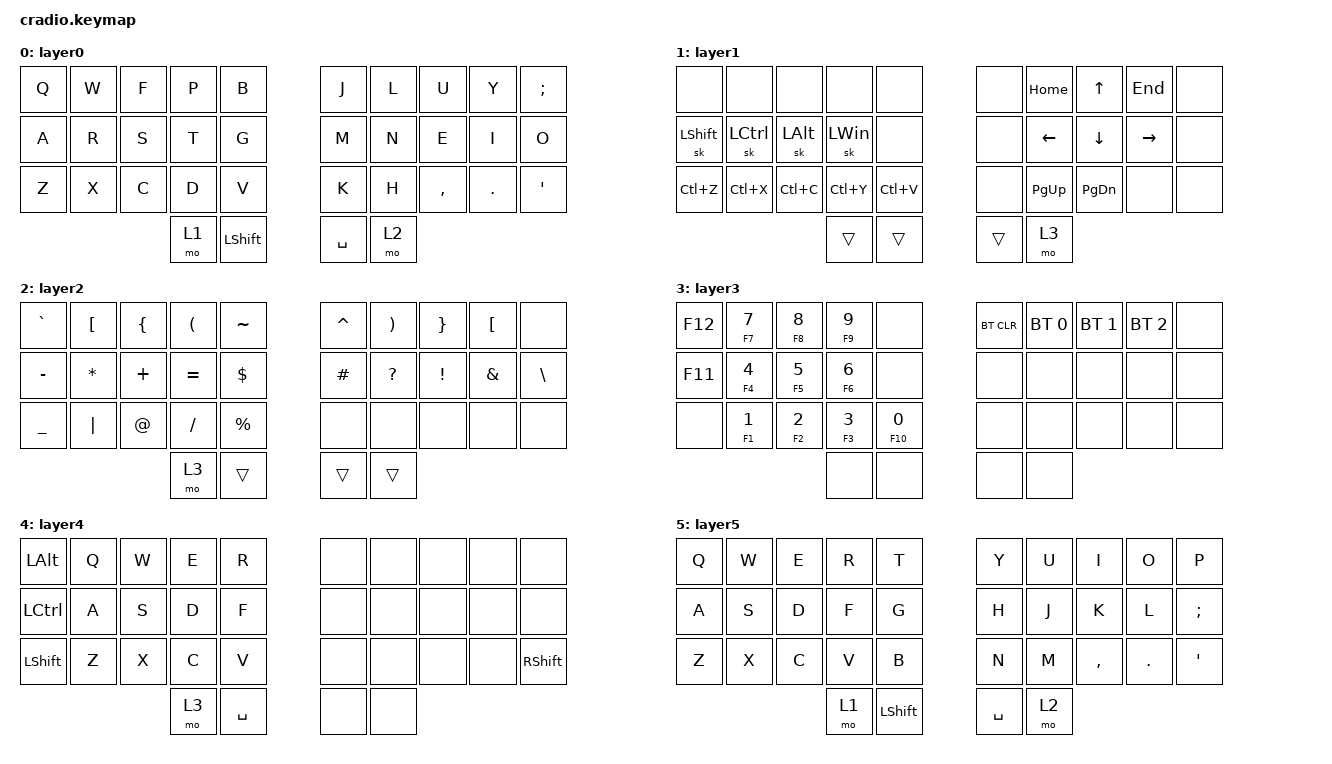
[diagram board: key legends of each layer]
// TODO: t g b support for gaming layer

// TODO: uk layout toggle for Adam?
/* 
        tilde is ¬
        hashtag is £
        backslash is #
        pipe is ~
        at is "
*/

// finish alt tab

#include <behaviors.dtsi>
#include <dt-bindings/zmk/keys.h>
#include <dt-bindings/zmk/bt.h>


/ {
        keymap {
                compatible = "zmk,keymap";

                default_layer: layer0 {};
                nav_layer: layer1 {};
                sym_layer: layer2 {};
                settings_layer: layer3 {};
                gaming_layer: layer4 {};
                qwerty_layer: layer5 {};
        };
};

&default_layer {
        bindings = <
                &kp Q &kp W &kp F &kp P &kp B &kp J &kp L &kp U &kp Y &kp SEMI
                &kp A &kp R &kp S &kp T &kp G &kp M &kp N &kp E &kp I &kp O
                &kp Z &kp X &kp C &kp D &kp V &kp K &kp H &kp COMMA &kp DOT &kp APOS
                &mo 1 &kp LSHFT &kp SPACE &mo 2                          
        >;
};

&nav_layer {
        bindings = <
                &none &none &none &none &none &none &kp HOME &kp UP &kp END &none
                &sk LSHIFT &sk LCTRL &sk LALT &sk LWIN &none &none &kp LEFT &kp DOWN &kp RIGHT &none
                &kp LC(Z) &kp LC(X) &kp LC(C) &kp LC(Y) &kp LC(V) &none &kp PG_UP &kp PG_DN &none &none
                &trans &trans &trans &mo 3 
        >;
};

&sym_layer {
        bindings = <
                &kp GRAVE &kp LBKT &kp LBRC &kp LPAR &kp TILDE &kp CARET &kp RPAR &kp RBRC &kp LBKT &none
                &kp MINUS &kp STAR &kp PLUS &kp EQUAL &kp DOLLAR &kp HASH &kp QMARK &kp EXCL &kp AMPS &kp BSLH
                &kp UNDER &kp PIPE &kp AT &kp FSLH &kp PRCNT &none &none &none &none &none
                &mo 3 &trans &trans &trans
        >;
};

&settings_layer {
        bindings = <
                &kp F12 &mt F7 N7 &mt F8 N8 &mt F9 N9 &none &bt BT_CLR &bt BT_SEL 0 &bt BT_SEL 1 &bt BT_SEL 2 &none
                &kp F11 &mt F4 N4 &mt F5 N5 &mt F6 N6 &none &none &none &none &none &none
                &none &mt F1 N1 &mt F2 N2 &mt F3 N3 &mt F10 N0 &none &none &none &none &none
                &none &none &none &none
        >;
};

&gaming_layer {
        bindings = <
                &kp LALT &kp Q &kp W &kp E &kp R &none &none &none &none &none
                &kp LCTRL &kp A &kp S &kp D &kp F &none &none &none &none &none
                &kp LSHIFT &kp Z &kp X &kp C &kp V &none &none &none &none &kp RSHIFT
                &mo 3 &kp SPACE &none &none
        >;
};

&qwerty_layer {
        bindings = <
                &kp Q &kp W &kp E &kp R &kp T &kp Y &kp U &kp I &kp O &kp P
                &kp A &kp S &kp D &kp F &kp G &kp H &kp J &kp K &kp L &kp SEMI
                &kp Z &kp X &kp C &kp V &kp B &kp N &kp M &kp COMMA &kp DOT &kp APOS
                &mo 1 &kp LSHFT &kp SPACE &mo 2
        >;
};


// Key postions reference: https://i.imgur.com/Xt1ydn1.png
/ {
    combos {
        compatible = "zmk,combos";
       
        combo_tab { timeout-ms = <25>; key-positions = <12 13>; bindings = <&kp TAB>; };
        combo_esc { timeout-ms = <25>; key-positions = <0 1>; bindings = <&kp ESC>; };
        combo_del_char { timeout-ms = <25>; key-positions = <6 7>; bindings = <&kp DEL>; };
        combo_del_word { timeout-ms = <25>; key-positions = <6 7 8>; bindings = <&kp LC(DEL)>; };
        combo_backspace { timeout-ms = <25>; key-positions = <16 17>; bindings = <&kp BACKSPACE>; }; 
        combo_backspace_word { timeout-ms = <25>; key-positions = <16 17 18>; bindings = <&kp LC(BACKSPACE)>; };
        combo_enter { timeout-ms = <25>; key-positions = <16 18>; bindings = <&kp ENTER>; };
        combo_l_reset { timeout-ms = <25>; key-positions = <4 14 24>; bindings = <&bootloader>; };
        combo_r_reset { timeout-ms = <25>; key-positions = <5 15 25>; bindings = <&bootloader>; };
        
        // combo_caps_lock { timeout-ms = <25>; key-positions = <20 21>; bindings = <&kp CAPS>; };
        combo_gaming_enter { timeout-ms = <25>; key-positions = <21 23>; bindings = <&tog 4>;};
        combo_tog_qwerty { timeout-ms = <25>; key-positions = <26 28>; bindings = <&tog 5>;};
        combo_alt_tab { timeout-ms = <25>; key-positions = <11 22>; bindings = <&kp LALT(TAB)>;};
    };
};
